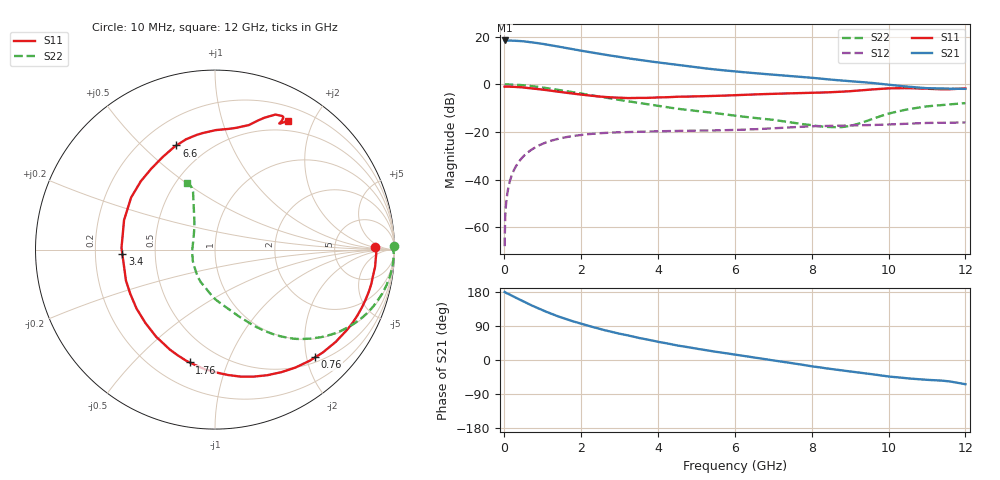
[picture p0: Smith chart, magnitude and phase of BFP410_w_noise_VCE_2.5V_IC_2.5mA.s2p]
! Infineon Technologies  Discrete & RF Semiconductors
! BFP410
! VCE =  2.5 V,  IC =  2.5 mA
! Common Emitter S-Parameters:  Nov 2015
# GHz  S  MA  R  50
!  f  S11  S21  S12  S22
! GHz  MAG  ANG  MAG  ANG  MAG  ANG  MAG  ANG
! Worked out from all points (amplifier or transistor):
!   243 points, 10 MHz to 12 GHz, reference 50 ohm
!   highest |S21| = 18.4 dB at 10 MHz (marker M1)
!   |S21| within 3 dB of that: start of sweep to 1.555 GHz
!   unconditionally stable (mu >= 1): 3.852 GHz to end of sweep
!   at 240 MHz: K = 0.05, MSG = 27.4 dB, |S12| = -36.4 dB
!   at 1.84 GHz: K = 0.42, MSG = 18.1 dB, |S12| = -21.6 dB
!   at 12 GHz: K = 1.13, MAG = 4.8 dB, |S12| = -16.0 dB
!   lowest NFmin = 0.84 dB at 900 MHz
!   S11 on the Smith chart (normalised r, x): 10 MHz: 17, +3; 760 MHz: 0.59, -2.16; 1.76 GHz: 0.34, -0.74; 3.4 GHz: 0.32, -0.02; 6.6 GHz: 0.34, +0.64; 12 GHz: 0.37, +1.65
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0.01  0.8937 1.0  8.361 179.5  0.0004 5.3  1 1.2
0.02  0.8992 -0.7  8.324 179.0  0.0013 95.5  0.9901 0.1
0.04  0.8976 -2.3  8.309 177.6  0.0026 88.8  0.9942 -0.8
0.15  0.8924 -9.3  8.322 172.2  0.0095 84.6  0.9943 -4.7
0.45  0.8682 -28.1  8.083 157.0  0.0279 75.2  0.9653 -14.4
0.6  0.8466 -37.4  7.859 149.3  0.0365 70.3  0.9416 -19.0
0.76  0.8194 -47.1  7.567 142.0  0.0451 65.2  0.911 -23.7
1  0.7768 -61.5  7.09 131.2  0.0566 58.2  0.8589 -30.2
1.2  0.7399 -73.0  6.669 122.9  0.0649 52.7  0.8129 -35.1
1.42  0.6986 -85.1  6.188 114.5  0.0723 47.1  0.7625 -39.9
1.76  0.6443 -102.6  5.52 103.0  0.0816 39.8  0.6902 -46.2
2.02  0.6079 -115.2  5.068 95.1  0.0871 35.0  0.6391 -50.3
2.62  0.5448 -144.0  4.201 78.5  0.0957 25.3  0.5285 -58.7
3.4  0.5167 -177.1  3.365 60.8  0.1007 16.7  0.4196 -67.8
4.1  0.5336 159.2  2.821 46.3  0.1039 11.3  0.3446 -76.4
5  0.562 137.4  2.276 29.8  0.1067 6.0  0.2763 -89.8
6.1  0.5962 117.8  1.841 12.8  0.1109 2.2  0.2152 -105.4
6.6  0.6187 110.3  1.697 5.2  0.115 0.8  0.1942 -115.1
8.2  0.6709 86.3  1.326 -19.3  0.1328 -8.0  0.1318 -161.7
9  0.7189 74.8  1.165 -30.2  0.1367 -12.6  0.1337 153.9
10.2  0.8285 64.6  0.947 -45.4  0.146 -17.9  0.2654 116.6
12  0.823 60.6  0.805 -63.8  0.1591 -30.9  0.4041 112.4
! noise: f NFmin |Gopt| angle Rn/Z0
0.45  0.88  0.45  7  0.25
0.9  0.84  0.43  20  0.24
1.8  1.06  0.33  53  0.2
2.4  1.09  0.33  62  0.18
5.5  2.15  0.34  -141  0.2
10  3.77  0.69  -55  2.12
